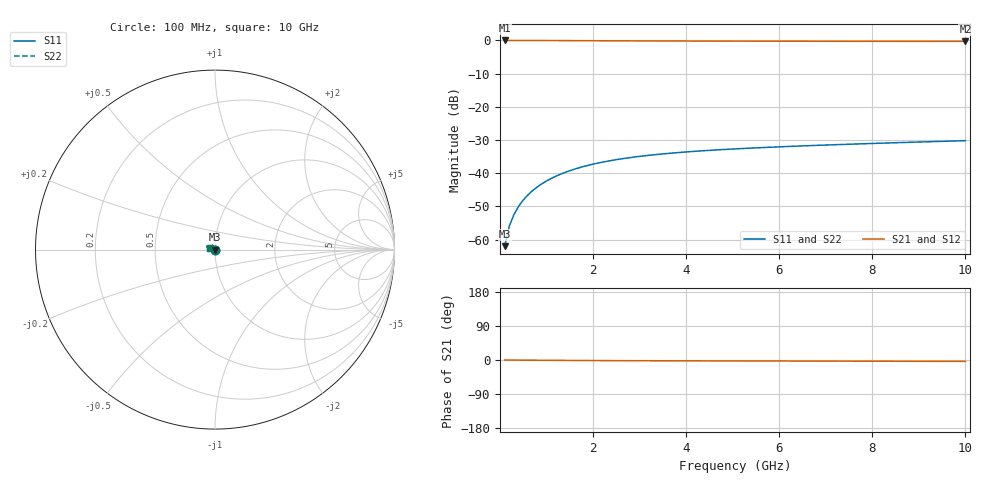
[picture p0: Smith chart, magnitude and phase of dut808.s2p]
! Touchstone file exported from HFSS 2024.1.0
!  File:  C:/UserFiles/LocalFiles/RDL_TSV_Batchsim/temp_TSV1_808_1779877128.aedt
!  Generated:  06:23:29 PM May 27, 2026
!  Design:  TSV1
!  Project:  temp_TSV1_808_1779877128
!  Setup:  Setup1
!  Solution:  Sweep
! Variables:
!  dtsv = 10.5um
!  hbump = 3um
!  htsv = 51.77um
!  lrdl = 252.1521522um
!  p = 40
!  p1 = 58.34um
!  t = 500um
!  trdl = 3um
!  wrdl = 24.89489489um
# GHz S MA R 50.000000
! Terminal data exported
! Port[1] = TSV22_T1
! Port[2] = TSV22_T2
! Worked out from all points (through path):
!   100 points, 100 MHz to 10 GHz, reference 50 ohm
!   highest |S21| = 0.00 dB at 100 MHz (marker M1); lowest = -0.3 dB at 10 GHz (marker M2)
!   lowest |S11| = -62.0 dB at 100 MHz (marker M3), VSWR 1.00, Z = 50 - j0.0792 ohm
!   |S11| at or under -10 dB: start of sweep to end of sweep
!   |S22| runs from -62.0 to -30.2 dB; largest |S21 - S12| = 5.2e-15
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0.1  0.0007946 -84.8  0.9999 -0.1  0.9999 -0.1  0.0007946 -84.8
! Gamma 0 0 0 0
! Port Impedance 50 0 50 0
0.2  0.001582 -90.5  0.9998 -0.2  0.9998 -0.2  0.001582 -90.5
0.3  0.002371 -93.9  0.9996 -0.3  0.9996 -0.3  0.002371 -93.9
0.4  0.003155 -96.7  0.9994 -0.4  0.9994 -0.4  0.003155 -96.7
0.5  0.003931 -99.2  0.9991 -0.4  0.9991 -0.4  0.003931 -99.2
0.6  0.004697 -101.6  0.9988 -0.5  0.9988 -0.5  0.004697 -101.6
0.7  0.005451 -104.0  0.9984 -0.6  0.9984 -0.6  0.005451 -104.0
0.8  0.006191 -106.2  0.998 -0.7  0.998 -0.7  0.006191 -106.2
0.9  0.006916 -108.4  0.9975 -0.8  0.9975 -0.8  0.006916 -108.4
1.1  0.008316 -112.7  0.9965 -0.9  0.9965 -0.9  0.008316 -112.7
1.4  0.01028 -118.7  0.9947 -1.1  0.9947 -1.1  0.01028 -118.7
1.6  0.01149 -122.6  0.9935 -1.2  0.9935 -1.2  0.01149 -122.6
1.8  0.01262 -126.2  0.9922 -1.4  0.9922 -1.4  0.01262 -126.2
2.1  0.01417 -131.4  0.9902 -1.5  0.9902 -1.5  0.01417 -131.4
2.5  0.01599 -137.8  0.9877 -1.7  0.9877 -1.7  0.01599 -137.8
2.9  0.01755 -143.6  0.9854 -1.8  0.9854 -1.8  0.01755 -143.6
3.4  0.01922 -150.2  0.9828 -2.0  0.9828 -2.0  0.01922 -150.2
4.2  0.02138 -159.3  0.9794 -2.2  0.9794 -2.2  0.02138 -159.3
5.1  0.02332 -168.0  0.9764 -2.5  0.9764 -2.5  0.02332 -168.0
6.7  0.02608 179.5  0.9728 -2.9  0.9728 -2.9  0.02608 179.5
8.4  0.02861 168.9  0.9704 -3.3  0.9704 -3.3  0.02861 168.9
10  0.03089 160.7  0.9688 -3.7  0.9688 -3.7  0.0309 160.7
